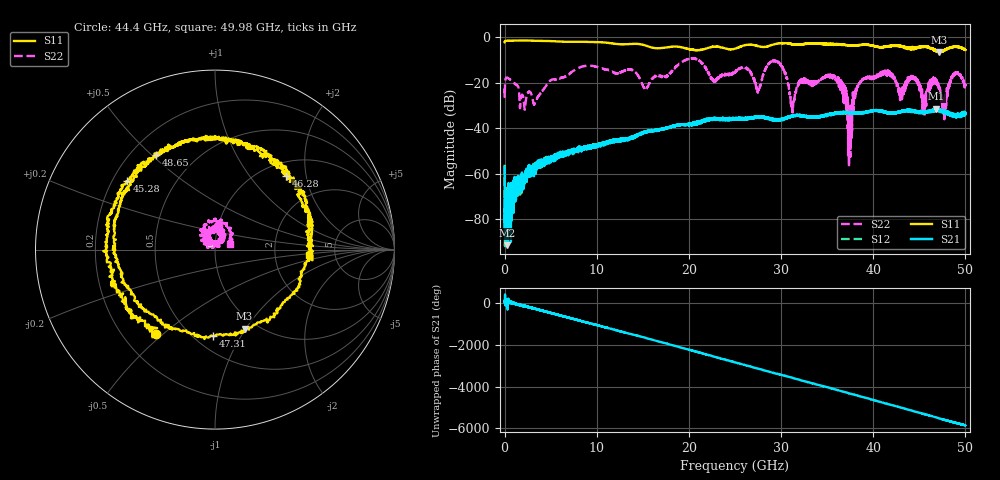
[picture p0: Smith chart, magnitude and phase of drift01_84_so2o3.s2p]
!Created with skrf (http://scikit-rf.org).
# Hz S RI R 50.0
!freq ReS11 ImS11 ReS21 ImS21 ReS12 ImS12 ReS22 ImS22
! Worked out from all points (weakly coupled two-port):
!   10001 points, 300 kHz to 50 GHz, reference 50 ohm
!   highest |S21| = -31.42 dB at 46.85 GHz (marker M1); lowest = -91.5 dB at 305.3 MHz (marker M2)
!   lowest |S11| = -6.6 dB at 47.15 GHz (marker M3), VSWR 2.77, Z = 43.8 - j49.3 ohm
!   |S11| at or under -10 dB: nowhere
!   |S22| runs from -57.1 to -9.2 dB; largest |S21 - S12| = 0.0039
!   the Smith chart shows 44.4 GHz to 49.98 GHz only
!   S11 on the Smith chart (normalised r, x): 44.4 GHz: 0.33, -0.47; 45.28 GHz: 0.26, +0.32; 46.28 GHz: 1.26, +1.54; 47.31 GHz: 0.61, -0.77; 48.65 GHz: 0.30, +0.51; 49.98 GHz: 3.19, -0.27
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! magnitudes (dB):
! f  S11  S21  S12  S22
! 300 kHz  -2.1  -57.2  -56.0  -22.5
! 305.3 MHz  -1.4  -91.5  -76.8  -17.7
! 3.29 GHz  -1.5  -58.7  -57.8  -28.8
! 8.335 GHz  -1.9  -49.5  -48.6  -12.9
! 16.67 GHz  -4.8  -40.8  -40.8  -16.7
! 25 GHz  -5.0  -36.0  -35.8  -15.2
! 29.58 GHz  -2.8  -36.2  -35.9  -10.7
! 31.23 GHz  -3.0  -34.8  -34.5  -32.0
! 33.34 GHz  -2.6  -35.3  -35.0  -20.4
! 36.02 GHz  -2.9  -33.3  -33.2  -17.6
! 37.49 GHz  -3.6  -33.0  -33.4  -37.3
! 38.65 GHz  -3.3  -33.1  -33.2  -19.4
! 41.67 GHz  -3.9  -33.2  -33.1  -16.1
! 44.4 GHz  -4.8  -32.5  -32.6  -17.7
! 45.28 GHz  -4.1  -32.8  -32.8  -24.4
! 46.28 GHz  -4.9  -32.2  -32.2  -20.8
! 46.85 GHz  -5.9  -31.4  -32.1  -18.7
! 47.15 GHz  -6.6  -32.1  -32.2  -22.1
! 47.31 GHz  -6.4  -32.2  -32.3  -24.8
! 48.65 GHz  -4.2  -34.0  -34.1  -16.7
! 49.98 GHz  -5.6  -34.1  -33.0  -21.1
! 50 GHz  -5.5  -33.2  -33.6  -21.4
